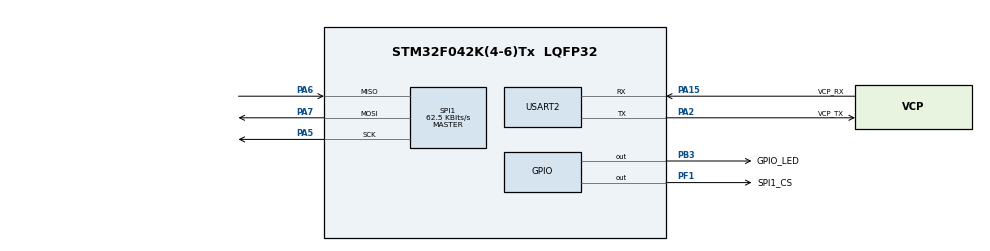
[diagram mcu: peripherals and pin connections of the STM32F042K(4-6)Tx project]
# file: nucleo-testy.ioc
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Mcu.Family=STM32F0
Mcu.Name=STM32F042K(4-6)Tx
Mcu.Package=LQFP32
PA13.GPIO_Label=SWDIO
PA13.Mode=Serial_Wire
PA13.Signal=SYS_SWDIO
PA14.GPIO_Label=SWCLK
PA14.Mode=Serial_Wire
PA14.Signal=SYS_SWCLK
PA15.GPIO_Label=VCP_RX
PA15.Mode=Asynchronous
PA15.Signal=USART2_RX
PA2.GPIO_Label=VCP_TX
PA2.Mode=Asynchronous
PA2.Signal=USART2_TX
PA5.Mode=Full_Duplex_Master
PA5.Signal=SPI1_SCK
PA6.Mode=Full_Duplex_Master
PA6.Signal=SPI1_MISO
PA7.Mode=Full_Duplex_Master
PA7.Signal=SPI1_MOSI
PB3.GPIO_Label=GPIO_LED
PB3.Signal=GPIO_Output
PF0-OSC_IN.GPIO_Label=MCO
PF0-OSC_IN.Mode=HSE-External-Clock-Source
PF0-OSC_IN.Signal=RCC_OSC_IN
PF1-OSC_OUT.GPIO_Label=SPI1_CS
PF1-OSC_OUT.PinState=GPIO_PIN_SET
PF1-OSC_OUT.Signal=GPIO_Output
ProjectManager.HeapSize=0x200
ProjectManager.StackSize=0x400
ProjectManager.TargetToolchain=STM32CubeIDE
SPI1.BaudRatePrescaler=SPI_BAUDRATEPRESCALER_128
SPI1.CLKPolarity=SPI_POLARITY_HIGH
SPI1.CalculateBaudRate=62.5 KBits/s
SPI1.DataSize=SPI_DATASIZE_16BIT
SPI1.Direction=SPI_DIRECTION_2LINES
SPI1.Mode=SPI_MODE_MASTER
SPI1.VirtualType=VM_MASTER
USART2.VirtualMode-Asynchronous=VM_ASYNC
board=NUCLEO-F042K6

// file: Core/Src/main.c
/* USER CODE BEGIN Header */
/**
  ******************************************************************************
  * @file           : main.c
  * @brief          : Main program body
  ******************************************************************************
  * @attention
  *
  * Copyright (c) 2025 STMicroelectronics.
  * All rights reserved.
  *
  * This software is licensed under terms that can be found in the LICENSE file
  * in the root directory of this software component.
  * If no LICENSE file comes with this software, it is provided AS-IS.
  *
  ******************************************************************************
  */
/* USER CODE END Header */
#include "main.h"
#include "spi.h"
#include "usart.h"
#include "gpio.h"

/* USER CODE BEGIN Includes */
#include <string.h>
#include <stdint.h>
#include <stdio.h>
/* USER CODE END Includes */

/* USER CODE BEGIN PTD */
#ifndef DRV_BYTE_ORDER
#ifndef __BYTE_ORDER__

#define DRV_LITTLE_ENDIAN 1234
#define DRV_BIG_ENDIAN    4321

/** if _BYTE_ORDER is not defined, choose the endianness of your architecture
  * by uncommenting the define which fits your platform endianness
  */
//#define DRV_BYTE_ORDER    DRV_BIG_ENDIAN
#define DRV_BYTE_ORDER    DRV_LITTLE_ENDIAN

#else /* defined __BYTE_ORDER__ */

#define DRV_LITTLE_ENDIAN  __ORDER_LITTLE_ENDIAN__
#define DRV_BIG_ENDIAN     __ORDER_BIG_ENDIAN__
#define DRV_BYTE_ORDER     __BYTE_ORDER__

#endif /* __BYTE_ORDER__*/
#endif /* DRV_BYTE_ORDER */
/* USER CODE END PTD */

/* USER CODE BEGIN PD */
static uint8_t tx_buffer[100];
/* USER CODE END PD */

void SystemClock_Config(void);
/* USER CODE BEGIN PFP */
static void tx_com(uint8_t *tx_buffer, uint16_t len);
/* USER CODE END PFP */

int main(void)
{

  /* MCU Configuration--------------------------------------------------------*/

  /* Reset of all peripherals, Initializes the Flash interface and the Systick. */
  HAL_Init();

  /* Configure the system clock */
  SystemClock_Config();

  /* Initialize all configured peripherals */
  MX_GPIO_Init();
  MX_USART2_UART_Init();
  MX_SPI1_Init();

  /* Infinite loop */
  /* USER CODE BEGIN WHILE */
  while (1)
  {
	  HAL_GPIO_TogglePin(GPIO_LED_GPIO_Port, GPIO_LED_Pin);

	  uint8_t tx[2];
	  uint8_t rx[2];
	  tx[0] = 0x00;
	  tx[1] = 0x0F | 0x80;
	  HAL_GPIO_WritePin(SPI1_CS_GPIO_Port, SPI1_CS_Pin, GPIO_PIN_RESET);
	  HAL_SPI_TransmitReceive(&hspi1, tx, rx, 1, 1000);
	  HAL_GPIO_WritePin(SPI1_CS_GPIO_Port, SPI1_CS_Pin, GPIO_PIN_SET);

	  snprintf((char*) tx_buffer, sizeof(tx_buffer),
			  "Who Am I read back: %x\r\n", rx[0]);
	  tx_com(tx_buffer, strlen((char const*) tx_buffer));

	  if (rx[0] == 0x6B) {
		  while(1) {
			  HAL_Delay(10);
		  }
		  break;
	  }
	  HAL_Delay(100);
    /* USER CODE END WHILE */

  }
}

void SystemClock_Config(void)
{
  RCC_OscInitTypeDef RCC_OscInitStruct = {0};
  RCC_ClkInitTypeDef RCC_ClkInitStruct = {0};

  /** Initializes the RCC Oscillators according to the specified parameters
  * in the RCC_OscInitTypeDef structure.
  */
  RCC_OscInitStruct.OscillatorType = RCC_OSCILLATORTYPE_HSI;
  RCC_OscInitStruct.HSIState = RCC_HSI_ON;
  RCC_OscInitStruct.HSICalibrationValue = RCC_HSICALIBRATION_DEFAULT;
  RCC_OscInitStruct.PLL.PLLState = RCC_PLL_NONE;
  if (HAL_RCC_OscConfig(&RCC_OscInitStruct) != HAL_OK)
  {
    Error_Handler();
  }

  /** Initializes the CPU, AHB and APB buses clocks
  */
  RCC_ClkInitStruct.ClockType = RCC_CLOCKTYPE_HCLK|RCC_CLOCKTYPE_SYSCLK
                              |RCC_CLOCKTYPE_PCLK1;
  RCC_ClkInitStruct.SYSCLKSource = RCC_SYSCLKSOURCE_HSI;
  RCC_ClkInitStruct.AHBCLKDivider = RCC_SYSCLK_DIV1;
  RCC_ClkInitStruct.APB1CLKDivider = RCC_HCLK_DIV1;

  if (HAL_RCC_ClockConfig(&RCC_ClkInitStruct, FLASH_LATENCY_0) != HAL_OK)
  {
    Error_Handler();
  }
}

/* USER CODE BEGIN 4 */
static void tx_com(uint8_t *tx_buffer, uint16_t len) {
	HAL_UART_Transmit(&huart2, tx_buffer, len, 1000);
}
/* USER CODE END 4 */

void Error_Handler(void)
{
  __disable_irq();
  while (1)
  {
  }
}
